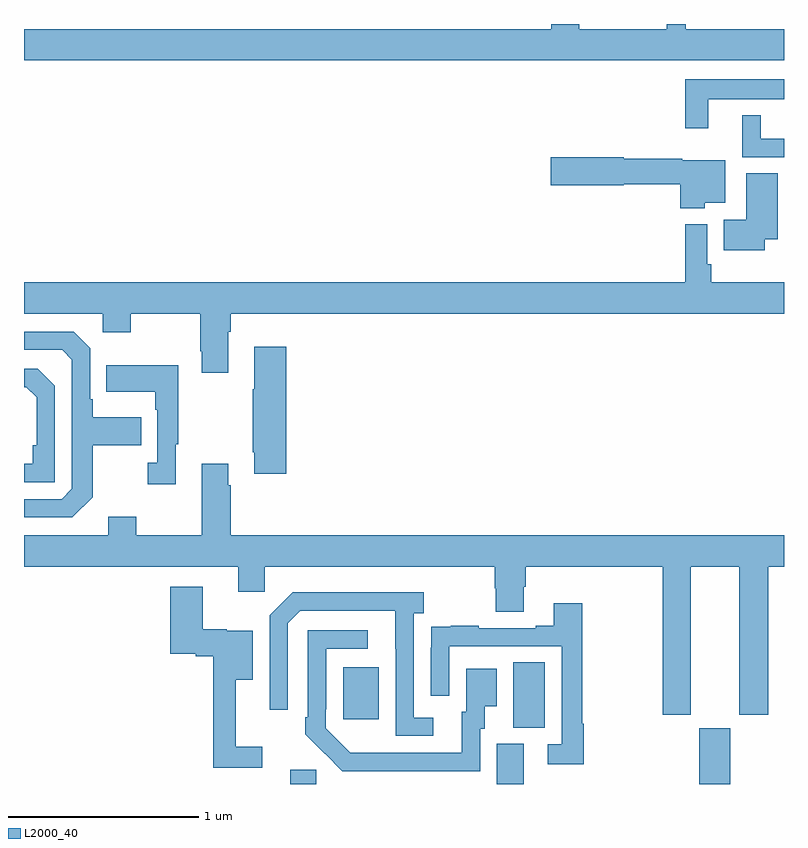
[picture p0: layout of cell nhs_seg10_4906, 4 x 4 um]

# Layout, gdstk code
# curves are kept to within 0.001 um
import gdstk
lib = gdstk.Library(unit=1e-6, precision=1e-09)
def R(c, l, rs):  # rectangles x0, y0, x1, y1
    for r in rs: c.add(gdstk.rectangle(r[:2], r[2:], *l))
def P(c, l, *ps):  # polygons
    for p in ps: c.add(gdstk.Polygon(p, *l))
L2000_40 = (2000, 40)

nhs_seg10_4906 = lib.new_cell('nhs_seg10_4906')
R(nhs_seg10_4906, L2000_40, [(394.4,1304.5,394.539,1304.574), (395.489,1304.5,395.629,1304.712), (396.554,1304.5,396.718,1304.793), (395.576,1304.797,395.74,1305.14), (394.679,1304.841,394.867,1305.115)])
P(nhs_seg10_4906, L2000_40, [(397,1308.472),(396.482,1308.472),(396.482,1308.5),(396.383,1308.5),(396.383,1308.472),(395.922,1308.472),(395.922,1308.5),(395.774,1308.5),(395.774,1308.472),(393,1308.472),(393,1308.308),(397,1308.308)],
  [(396.601,1308.104),(397,1308.104),(397,1308.208),(396.48,1308.208),(396.48,1307.952),(396.601,1307.952)],
  [(397,1307.895),(396.877,1307.895),(396.877,1308.019),(396.779,1308.019),(396.779,1307.799),(397,1307.799)],
  [(396.582,1307.558),(396.691,1307.558),(396.691,1307.782),(396.465,1307.782),(396.465,1307.792),(396.156,1307.792),(396.156,1307.798),(395.772,1307.798),(395.772,1307.651),(396.156,1307.651),(396.156,1307.656),(396.454,1307.656),(396.454,1307.531),(396.582,1307.531)],
  [(396.898,1307.366),(396.967,1307.366),(396.967,1307.714),(396.8,1307.714),(396.8,1307.47),(396.682,1307.47),(396.682,1307.309),(396.898,1307.309)],
  [(394.075,1306.88),(394.088,1306.88),(394.088,1306.976),(397,1306.976),(397,1307.14),(396.617,1307.14),(396.617,1307.236),(396.597,1307.236),(396.597,1307.446),(396.481,1307.446),(396.481,1307.14),(393,1307.14),(393,1306.976),(393.414,1306.976),(393.414,1306.877),(393.561,1306.877),(393.561,1306.976),(393.928,1306.976),(393.928,1306.777),(393.935,1306.777),(393.935,1306.665),(394.075,1306.665)],
  [(393.361,1306.009),(393.361,1306.282),(393.617,1306.282),(393.617,1306.429),(393.361,1306.429),(393.361,1306.525),(393.348,1306.525),(393.348,1306.794),(393.261,1306.881),(393,1306.881),(393,1306.785),(393.201,1306.785),(393.252,1306.734),(393.252,1306.053),(393.198,1305.999),(393,1305.999),(393,1305.903),(393.255,1305.903)],
  [(394.379,1306.801),(394.211,1306.801),(394.211,1306.577),(394.204,1306.577),(394.204,1306.246),(394.211,1306.246),(394.211,1306.134),(394.379,1306.134)],
  [(393.799,1306.289),(393.811,1306.289),(393.811,1306.705),(393.433,1306.705),(393.433,1306.565),(393.69,1306.565),(393.69,1306.469),(393.702,1306.469),(393.702,1306.19),(393.651,1306.19),(393.651,1306.077),(393.799,1306.077)],
  [(393.162,1306.596),(393.072,1306.686),(393,1306.686),(393,1306.589),(393.013,1306.589),(393.066,1306.536),(393.066,1306.282),(393.046,1306.282),(393.046,1306.185),(393,1306.185),(393,1306.089),(393.162,1306.089)],
  [(396.508,1305.644),(396.764,1305.644),(396.764,1304.865),(396.917,1304.865),(396.917,1305.644),(397,1305.644),(397,1305.808),(394.088,1305.808),(394.088,1306.073),(394.075,1306.073),(394.075,1306.186),(393.935,1306.186),(393.935,1305.808),(393.591,1305.808),(393.591,1305.907),(393.443,1305.907),(393.443,1305.808),(393,1305.808),(393,1305.644),(394.127,1305.644),(394.127,1305.513),(394.266,1305.513),(394.266,1305.644),(395.477,1305.644),(395.477,1305.531),(395.482,1305.531),(395.482,1305.406),(395.629,1305.406),(395.629,1305.538),(395.642,1305.538),(395.642,1305.644),(396.361,1305.644),(396.361,1304.865),(396.508,1304.865)],
  [(394.255,1304.695),(394.115,1304.695),(394.115,1305.05),(394.204,1305.05),(394.204,1305.307),(394.068,1305.307),(394.068,1305.315),(393.94,1305.315),(393.94,1305.538),(393.77,1305.538),(393.77,1305.185),(393.903,1305.185),(393.903,1305.173),(393.997,1305.173),(393.997,1304.586),(394.255,1304.586)],
  [(395.155,1304.85),(395.052,1304.85),(395.052,1305.398),(395.104,1305.398),(395.104,1305.508),(394.414,1305.508),(394.293,1305.387),(394.293,1304.892),(394.389,1304.892),(394.389,1305.345),(394.455,1305.411),(394.955,1305.411),(394.956,1304.754),(395.155,1304.754)],
  [(395.945,1304.816),(395.938,1304.816),(395.938,1305.451),(395.789,1305.451),(395.789,1305.334),(395.693,1305.334),(395.693,1305.321),(395.393,1305.321),(395.393,1305.334),(395.245,1305.334),(395.245,1305.327),(395.143,1305.327),(395.143,1305.218),(395.142,1305.218),(395.142,1304.964),(395.238,1304.964),(395.238,1305.225),(395.829,1305.225),(395.829,1304.709),(395.757,1304.709),(395.757,1304.604),(395.945,1304.604)],
  [(395.4,1304.79),(395.425,1304.79),(395.425,1304.909),(395.488,1304.909),(395.488,1305.106),(395.327,1305.106),(395.327,1304.88),(395.303,1304.88),(395.303,1304.664),(394.716,1304.665),(394.587,1304.793),(394.587,1304.893),(394.59,1304.893),(394.59,1305.213),(394.81,1305.213),(394.81,1305.309),(394.494,1305.309),(394.494,1304.851),(394.479,1304.851),(394.479,1304.763),(394.676,1304.568),(395.4,1304.568)])

lib.write_gds('nhs_seg10_4906.gds')
